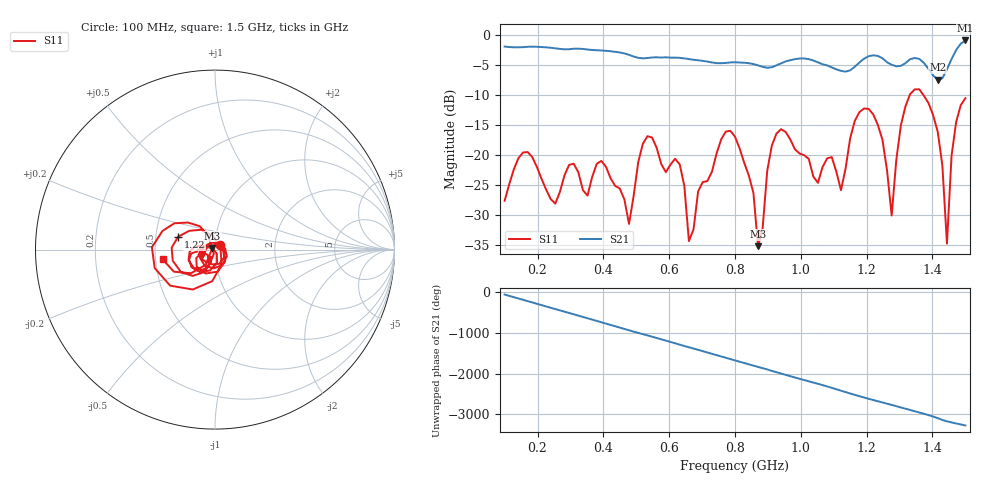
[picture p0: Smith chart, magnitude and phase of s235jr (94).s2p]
! NanoVNA-App
! Date: 2025-09-26 09:45:31
! Start: 100MHz Stop: 1,5GHz Points: 101
! S-Parameter data: F S11 S21 S12 S22
# Hz S RI R 50
!  Frequency  S11_Real  S11_Imag  S21_Real  S21_Imag  S12_Real  S12_Imag  S22_Real  S22_Imag
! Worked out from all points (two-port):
!   101 points, 100 MHz to 1.5 GHz, reference 50 ohm
!   highest |S21| = -0.93 dB at 1.5 GHz (marker M1); lowest = -7.5 dB at 1.416 GHz (marker M2)
!   |S21| within 3 dB of the highest: start of sweep to 647.2 MHz; 1.193 GHz to 1.249 GHz (55.45 MHz wide, 4.54 % of centre)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
!   lowest |S11| = -35.2 dB at 870 MHz (marker M3), VSWR 1.04, Z = 48.6 + j0.922 ohm
!   |S11| at or under -10 dB: start of sweep to 1.331 GHz; 1.372 GHz to end of sweep
!   S12 and S22 are empty: the file has one direction only
!   S11 on the Smith chart (normalised r, x): 100 MHz: 1.06, +0.06; 1.22 GHz: 0.65, +0.10; 1.5 GHz: 0.55, -0.07
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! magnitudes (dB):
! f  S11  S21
! 100 MHz  -27.7  -2.0
! 156 MHz  -19.6  -2.0
! 338 MHz  -25.9  -2.3
! 394 MHz  -21.0  -2.6
! 478 MHz  -31.5  -3.3
! 520 MHz  -18.2  -3.9
! 576 MHz  -21.5  -3.8
! 632 MHz  -21.6  -3.8
! 660 MHz  -34.4  -4.0
! 800 MHz  -17.0  -4.6
! 870 MHz  -35.2  -5.1
! 926 MHz  -16.5  -5.1
! 1.038 GHz  -23.6  -4.3
! 1.122 GHz  -25.9  -6.0
! 1.164 GHz  -14.3  -5.3
! 1.22 GHz  -13.3  -3.4
! 1.276 GHz  -30.1  -5.0
! 1.332 GHz  -9.9  -4.1
! 1.416 GHz  -16.2  -7.5
! 1.444 GHz  -34.8  -5.7
! 1.458 GHz  -20.1  -4.0
! 1.5 GHz  -10.6  -0.9
